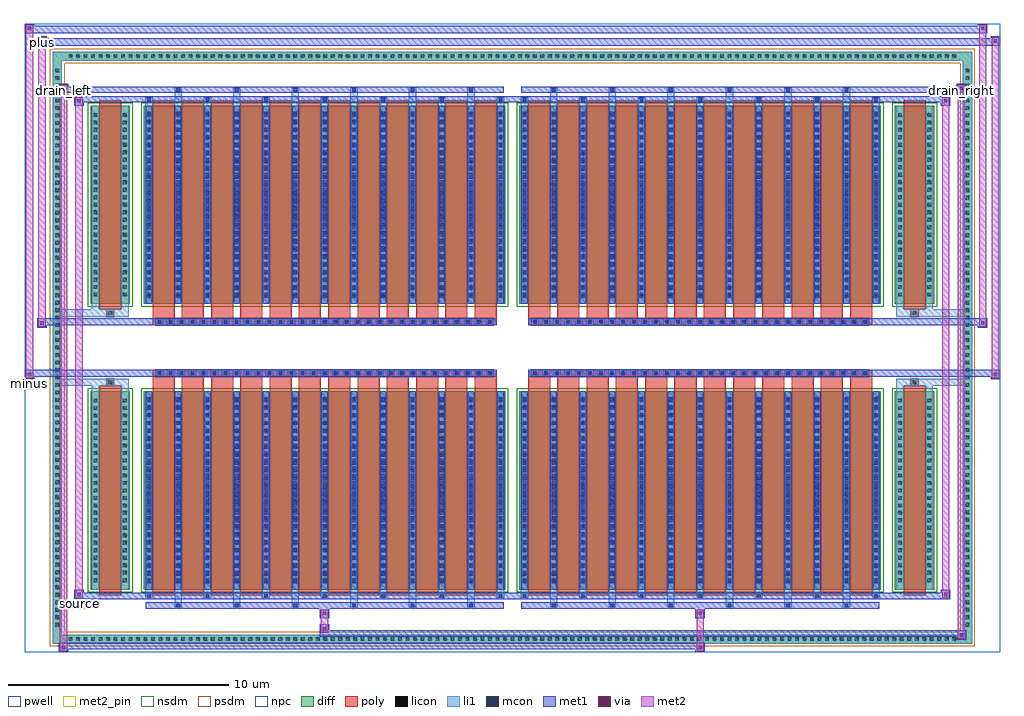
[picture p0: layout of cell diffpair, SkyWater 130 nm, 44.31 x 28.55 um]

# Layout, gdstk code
import gdstk
lib = gdstk.Library(unit=1e-6, precision=5e-09)
def R(c, l, rs):  # rectangles x0, y0, x1, y1
    for r in rs: c.add(gdstk.rectangle(r[:2], r[2:], *l))
def A(c, l, x, y, w, h, nx, ny, dx, dy):  # array of equal rectangles
    R(c, l, [(x+i*dx, y+j*dy, x+i*dx+w, y+j*dy+h) for i in range(nx) for j in range(ny)])
def P(c, l, *ps):  # polygons
    for p in ps: c.add(gdstk.Polygon(p, *l))
pwell = (64, 44)
diff = (65, 20)
poly = (66, 20)
licon = (66, 44)
li1 = (67, 20)
mcon = (67, 44)
met1 = (68, 20)
via = (68, 44)
met2_pin = (69, 16)
met2 = (69, 20)
nsdm = (93, 44)
psdm = (94, 20)
npc = (95, 20)

diffpair = lib.new_cell('diffpair')
R(diffpair, pwell, [(-22.14,-13.84,22.14,14.71), (-19.46,-12.03,-0.01,-0.805), (0.01,-12.03,19.46,-0.805), (-19.46,0.805,-0.01,12.03), (0.01,0.805,19.46,12.03)])
A(diffpair, diff, -20.265, -13.44, 0.41, 0.41, 119, 2, 0.34, 26.47)
A(diffpair, diff, -20.87, -12.785, 0.41, 0.41, 1, 75, 0, 0.34)
A(diffpair, diff, 20.46, -12.785, 0.41, 0.41, 1, 75, 0, 0.34)
R(diffpair, diff, [(-20.265,-13.44,20.265,-13.03), (-20.87,-12.785,-20.46,12.785), (20.46,-12.785,20.87,12.785), (-19.15,-10.985,-17.37,-1.985), (-16.73,-10.985,-0.32,-1.985), (0.32,-10.985,16.73,-1.985), (17.37,-10.985,19.15,-1.985), (-19.15,1.985,-17.37,10.985), (-16.73,1.985,-0.32,10.985), (0.32,1.985,16.73,10.985), (17.37,1.985,19.15,10.985), (-20.265,13.03,20.265,13.44)])
P(diffpair, diff, [(20.87,13.44),(-20.87,13.44),(-20.87,-13.03),(-20.46,-13.03),(-20.46,13.03),(20.46,13.03),(20.46,-13.03),(-20.46,-13.03),(-20.87,-13.03),(-20.87,-13.44),(20.87,-13.44)])
A(diffpair, poly, -16.34, -11.235, 1, 9.5, 12, 2, 1.33, 12.97)
A(diffpair, poly, 0.71, -11.235, 1, 9.5, 12, 2, 1.33, 12.97)
A(diffpair, poly, -16.34, -1.735, 1, 0.4, 12, 2, 1.33, 3.07)
A(diffpair, poly, 0.71, -1.735, 1, 0.4, 12, 2, 1.33, 3.07)
A(diffpair, poly, -16.19, -1.335, 0.33, 0.33, 31, 2, 0.5, 2.34)
A(diffpair, poly, 0.86, -1.335, 0.33, 0.33, 31, 2, 0.5, 2.34)
R(diffpair, poly, [(-18.76,-11.235,-17.76,-1.735), (17.76,-11.235,18.76,-1.735), (-18.425,-1.735,-18.095,-1.405), (-18.425,-1.735,-18.095,-1.405), (18.095,-1.735,18.425,-1.405), (18.095,-1.735,18.425,-1.405), (-16.34,-1.335,-0.71,-1.005), (0.71,-1.335,16.34,-1.005), (-16.34,1.005,-0.71,1.335), (0.71,1.005,16.34,1.335), (-18.425,1.405,-18.095,1.735), (-18.425,1.405,-18.095,1.735), (18.095,1.405,18.425,1.735), (18.095,1.405,18.425,1.735), (-18.76,1.735,-17.76,11.235), (17.76,1.735,18.76,11.235)])
A(diffpair, licon, -20.145, -13.32, 0.17, 0.17, 119, 2, 0.34, 26.47)
A(diffpair, licon, -20.75, -12.665, 0.17, 0.17, 1, 75, 0, 0.34)
A(diffpair, licon, 20.58, -12.665, 0.17, 0.17, 1, 75, 0, 0.34)
A(diffpair, licon, -19.01, -10.65, 0.17, 0.17, 1, 25, 0, 0.34)
A(diffpair, licon, -17.68, -10.65, 0.17, 0.17, 1, 25, 0, 0.34)
A(diffpair, licon, -16.59, -10.65, 0.17, 0.17, 13, 25, 1.33, 0.34)
A(diffpair, licon, 0.46, -10.65, 0.17, 0.17, 13, 25, 1.33, 0.34)
A(diffpair, licon, 17.51, -10.65, 0.17, 0.17, 1, 25, 0, 0.34)
A(diffpair, licon, 18.84, -10.65, 0.17, 0.17, 1, 25, 0, 0.34)
A(diffpair, licon, -16.11, -1.255, 0.17, 0.17, 31, 2, 0.5, 2.34)
A(diffpair, licon, 0.94, -1.255, 0.17, 0.17, 31, 2, 0.5, 2.34)
A(diffpair, licon, -19.01, 2.32, 0.17, 0.17, 1, 25, 0, 0.34)
A(diffpair, licon, -17.68, 2.32, 0.17, 0.17, 1, 25, 0, 0.34)
A(diffpair, licon, -16.59, 2.32, 0.17, 0.17, 13, 25, 1.33, 0.34)
A(diffpair, licon, 0.46, 2.32, 0.17, 0.17, 13, 25, 1.33, 0.34)
A(diffpair, licon, 17.51, 2.32, 0.17, 0.17, 1, 25, 0, 0.34)
A(diffpair, licon, 18.84, 2.32, 0.17, 0.17, 1, 25, 0, 0.34)
R(diffpair, licon, [(-18.345,-1.655,-18.175,-1.485), (18.175,-1.655,18.345,-1.485), (-18.345,1.485,-18.175,1.655), (18.175,1.485,18.345,1.655)])
A(diffpair, li1, -20.225, -13.4, 0.33, 0.33, 119, 2, 0.34, 26.47)
A(diffpair, li1, -20.83, -12.745, 0.33, 0.33, 1, 75, 0, 0.34)
A(diffpair, li1, 20.5, -12.745, 0.33, 0.33, 1, 75, 0, 0.34)
A(diffpair, li1, -15.34, -11.79, 0.33, 0.805, 6, 2, 2.66, 22.775)
A(diffpair, li1, -15.26, -11.79, 0.17, 0.17, 6, 2, 2.66, 23.41)
A(diffpair, li1, 1.71, -11.79, 0.33, 0.805, 6, 2, 2.66, 22.775)
A(diffpair, li1, 1.79, -11.79, 0.17, 0.17, 6, 2, 2.66, 23.41)
A(diffpair, li1, -16.67, -11.36, 0.33, 0.375, 7, 2, 2.66, 22.345)
A(diffpair, li1, -16.59, -11.36, 0.17, 0.17, 7, 2, 2.66, 22.55)
A(diffpair, li1, 0.38, -11.36, 0.33, 0.375, 7, 2, 2.66, 22.345)
A(diffpair, li1, 0.46, -11.36, 0.17, 0.17, 7, 2, 2.66, 22.55)
A(diffpair, li1, -16.67, -10.985, 0.33, 9, 13, 2, 1.33, 12.97)
A(diffpair, li1, 0.38, -10.985, 0.33, 9, 13, 2, 1.33, 12.97)
A(diffpair, li1, -19.09, -10.73, 0.33, 0.33, 1, 25, 0, 0.34)
A(diffpair, li1, -17.76, -10.73, 0.33, 0.33, 1, 25, 0, 0.34)
A(diffpair, li1, -16.67, -10.73, 0.33, 0.33, 13, 25, 1.33, 0.34)
A(diffpair, li1, 0.38, -10.73, 0.33, 0.33, 13, 25, 1.33, 0.34)
A(diffpair, li1, 17.43, -10.73, 0.33, 0.33, 1, 25, 0, 0.34)
A(diffpair, li1, 18.76, -10.73, 0.33, 0.33, 1, 25, 0, 0.34)
A(diffpair, li1, -16.59, -10.71, 0.17, 0.17, 13, 24, 1.33, 0.36)
A(diffpair, li1, -16.59, -10.71, 0.17, 8.45, 13, 2, 1.33, 12.97)
A(diffpair, li1, 0.46, -10.71, 0.17, 0.17, 13, 24, 1.33, 0.36)
A(diffpair, li1, 0.46, -10.71, 0.17, 8.45, 13, 2, 1.33, 12.97)
A(diffpair, li1, -16.19, -1.335, 0.33, 0.33, 31, 2, 0.5, 2.34)
A(diffpair, li1, 0.86, -1.335, 0.33, 0.33, 31, 2, 0.5, 2.34)
A(diffpair, li1, -19.09, 2.24, 0.33, 0.33, 1, 25, 0, 0.34)
A(diffpair, li1, -17.76, 2.24, 0.33, 0.33, 1, 25, 0, 0.34)
A(diffpair, li1, -16.67, 2.24, 0.33, 0.33, 13, 25, 1.33, 0.34)
A(diffpair, li1, 0.38, 2.24, 0.33, 0.33, 13, 25, 1.33, 0.34)
A(diffpair, li1, 17.43, 2.24, 0.33, 0.33, 1, 25, 0, 0.34)
A(diffpair, li1, 18.76, 2.24, 0.33, 0.33, 1, 25, 0, 0.34)
A(diffpair, li1, -16.59, 2.26, 0.17, 0.17, 13, 24, 1.33, 0.36)
A(diffpair, li1, 0.46, 2.26, 0.17, 0.17, 13, 24, 1.33, 0.36)
R(diffpair, li1, [(-20.87,-13.44,-20.46,-13.03), (-20.87,-13.44,-20.46,-13.03), (-20.46,-13.44,20.46,-13.03), (20.46,-13.44,20.87,-13.03), (20.46,-13.44,20.87,-13.03), (-20.87,-13.03,-20.46,13.03), (20.46,-13.03,20.87,13.03), (-19.09,-10.985,-18.76,-1.985), (-17.76,-10.985,-17.43,-1.985), (17.43,-10.985,17.76,-1.985), (18.76,-10.985,19.09,-1.985), (-19.09,-1.985,-18.76,-1.405), (-17.76,-1.985,-17.43,-1.405), (17.43,-1.985,17.76,-1.405), (18.76,-1.985,19.09,-1.405), (-20.87,-1.735,-18.425,-1.405), (-19.09,-1.735,-18.425,-1.405), (-18.425,-1.735,-18.095,-1.405), (-18.095,-1.735,-17.43,-1.405), (17.43,-1.735,18.095,-1.405), (18.095,-1.735,18.425,-1.405), (18.095,-1.735,20.87,-1.405), (18.425,-1.735,19.09,-1.405), (-20.87,1.405,-18.425,1.735), (-19.09,1.405,-18.425,1.735), (-19.09,1.405,-18.76,1.985), (-18.425,1.405,-18.095,1.735), (-18.095,1.405,-17.43,1.735), (-17.76,1.405,-17.43,1.985), (17.43,1.405,18.095,1.735), (17.43,1.405,17.76,1.985), (18.095,1.405,18.425,1.735), (18.095,1.405,20.87,1.735), (18.425,1.405,19.09,1.735), (18.76,1.405,19.09,1.985), (-19.09,1.985,-18.76,10.985), (-17.76,1.985,-17.43,10.985), (17.43,1.985,17.76,10.985), (18.76,1.985,19.09,10.985), (-20.87,13.03,-20.46,13.44), (-20.87,13.03,-20.46,13.44), (-20.46,13.03,20.46,13.44), (20.46,13.03,20.87,13.44), (20.46,13.03,20.87,13.44)])
A(diffpair, mcon, -15.26, -11.79, 0.17, 0.17, 6, 2, 2.66, 23.41)
A(diffpair, mcon, 1.79, -11.79, 0.17, 0.17, 6, 2, 2.66, 23.41)
A(diffpair, mcon, -16.59, -11.36, 0.17, 0.17, 7, 2, 2.66, 22.55)
A(diffpair, mcon, 0.46, -11.36, 0.17, 0.17, 7, 2, 2.66, 22.55)
A(diffpair, mcon, -16.59, -10.71, 0.17, 0.17, 13, 24, 1.33, 0.36)
A(diffpair, mcon, 0.46, -10.71, 0.17, 0.17, 13, 24, 1.33, 0.36)
A(diffpair, mcon, -16.11, -1.255, 0.17, 0.17, 31, 2, 0.5, 2.34)
A(diffpair, mcon, 0.94, -1.255, 0.17, 0.17, 31, 2, 0.5, 2.34)
A(diffpair, mcon, -16.59, 2.26, 0.17, 0.17, 13, 24, 1.33, 0.36)
A(diffpair, mcon, 0.46, 2.26, 0.17, 0.17, 13, 24, 1.33, 0.36)
A(diffpair, met1, -15.32, -11.85, 0.29, 0.29, 6, 2, 2.66, 23.41)
A(diffpair, met1, 1.73, -11.85, 0.29, 0.29, 6, 2, 2.66, 23.41)
A(diffpair, met1, -16.65, -11.42, 0.29, 0.29, 7, 2, 2.66, 22.55)
A(diffpair, met1, 0.4, -11.42, 0.29, 0.29, 7, 2, 2.66, 22.55)
A(diffpair, met1, -16.65, -10.985, 0.29, 9, 13, 2, 1.33, 12.97)
A(diffpair, met1, 0.4, -10.985, 0.29, 9, 13, 2, 1.33, 12.97)
A(diffpair, met1, -16.65, -10.77, 0.29, 0.29, 13, 24, 1.33, 0.36)
A(diffpair, met1, 0.4, -10.77, 0.29, 0.29, 13, 24, 1.33, 0.36)
A(diffpair, met1, -16.17, -1.315, 0.29, 0.29, 31, 2, 0.5, 2.34)
A(diffpair, met1, 0.88, -1.315, 0.29, 0.29, 31, 2, 0.5, 2.34)
A(diffpair, met1, -16.65, 2.2, 0.29, 0.29, 13, 24, 1.33, 0.36)
A(diffpair, met1, 0.4, 2.2, 0.29, 0.29, 13, 24, 1.33, 0.36)
R(diffpair, met1, [(-20.6,-13.84,-20.17,-13.41), (8.31,-13.84,8.74,-13.41), (-20.6,-13.7,8.74,-13.41), (20.17,-13.27,20.6,-12.84), (-8.74,-13.13,20.6,-12.84), (-8.74,-12.99,-8.31,-12.56), (-8.74,-12.28,-8.31,-11.85), (8.31,-12.28,8.74,-11.85), (-16.65,-11.85,-0.4,-11.56), (0.4,-11.85,16.65,-11.56), (-19.89,-11.42,-19.46,-10.99), (-19.89,-11.42,-16.65,-11.13), (-16.65,-11.42,-0.4,-11.13), (-0.4,-11.42,0.4,-11.13), (0.4,-11.42,16.65,-11.13), (16.65,-11.42,19.89,-11.13), (19.46,-11.42,19.89,-10.99), (-22.14,-1.435,-21.71,-1.005), (21.71,-1.435,22.14,-1.005), (-22.14,-1.335,-0.71,-1.005), (-16.34,-1.335,-0.71,-1.005), (0.71,-1.335,16.34,-1.005), (0.71,-1.335,22.14,-1.005), (-21.57,0.905,-21.14,1.335), (21.14,0.905,21.57,1.335), (-21.57,1.005,-16.34,1.335), (-16.34,1.005,-0.71,1.335), (0.71,1.005,16.34,1.335), (16.34,1.005,21.57,1.335), (-19.89,10.99,-19.46,11.42), (19.46,10.99,19.89,11.42), (-19.89,11.13,-16.65,11.42), (-16.65,11.13,-0.4,11.42), (-0.4,11.13,0.4,11.42), (0.4,11.13,16.65,11.42), (16.65,11.13,19.89,11.42), (-20.6,11.56,-20.17,11.99), (-20.6,11.56,-16.65,11.85), (-16.65,11.56,-0.4,11.85), (0.4,11.56,16.65,11.85), (16.65,11.56,20.6,11.85), (20.17,11.56,20.6,11.99), (-21.57,13.71,-21.14,14.14), (-21.57,13.71,-19.46,14.04), (-19.46,13.71,19.46,14.04), (19.46,13.71,22.14,14.04), (21.71,13.71,22.14,14.14), (-22.14,14.28,-21.71,14.71), (-22.14,14.28,-19.46,14.61), (-19.46,14.28,19.46,14.61), (19.46,14.28,21.57,14.61), (21.14,14.28,21.57,14.71)])
R(diffpair, via, [(-20.46,-13.7,-20.31,-13.55), (8.45,-13.7,8.6,-13.55), (20.31,-13.13,20.46,-12.98), (-8.6,-12.85,-8.45,-12.7), (-8.6,-12.14,-8.45,-11.99), (8.45,-12.14,8.6,-11.99), (-19.75,-11.28,-19.6,-11.13), (19.6,-11.28,19.75,-11.13), (-22,-1.295,-21.85,-1.145), (21.85,-1.295,22,-1.145), (-21.43,1.045,-21.28,1.195), (21.28,1.045,21.43,1.195), (-19.75,11.13,-19.6,11.28), (19.6,11.13,19.75,11.28), (-20.46,11.7,-20.31,11.85), (20.31,11.7,20.46,11.85), (-21.43,13.85,-21.28,14), (21.85,13.85,22,14), (-22,14.42,-21.85,14.57), (21.28,14.42,21.43,14.57)])
R(diffpair, met2_pin, [(-19.925,-11.87,-19.425,-11.37), (-22.175,-1.885,-21.675,-1.385), (-20.635,11.44,-20.135,11.94), (20.135,11.44,20.635,11.94), (-21.605,13.59,-21.105,14.09)])
R(diffpair, met2, [(-20.55,-13.79,-20.22,-13.46), (-20.55,-13.79,-20.22,11.94), (8.36,-13.79,8.69,-13.46), (8.36,-13.46,8.69,-12.23), (20.22,-13.22,20.55,-12.89), (20.22,-13.22,20.55,11.94), (-8.69,-12.94,-8.36,-12.61), (-8.69,-12.61,-8.36,-12.23), (-8.69,-12.23,-8.36,-11.9), (8.36,-12.23,8.69,-11.9), (-19.84,-11.37,-19.51,-11.04), (-19.84,-11.37,-19.51,11.37), (19.51,-11.37,19.84,-11.04), (19.51,-11.37,19.84,11.37), (-22.09,-1.385,-21.76,-1.055), (-22.09,-1.385,-21.76,14.66), (21.76,-1.385,22.09,-1.055), (21.76,-1.385,22.09,14.09), (-21.52,0.955,-21.19,1.285), (-21.52,0.955,-21.19,14.09), (21.19,0.955,21.52,1.285), (21.19,0.955,21.52,14.66), (-19.84,11.04,-19.51,11.37), (19.51,11.04,19.84,11.37), (-20.55,11.61,-20.22,11.94), (20.22,11.61,20.55,11.94), (-21.52,13.76,-21.19,14.09), (21.76,13.76,22.09,14.09), (-22.09,14.33,-21.76,14.66), (21.19,14.33,21.52,14.66)])
P(diffpair, met2, [(22.09,-1.385),(22.09,-1.385),(22.09,-1.055),(22.09,-1.055)],
  [(22.09,13.76),(22.09,13.76),(22.09,14.09),(22.09,14.09)],
  [(-21.76,-1.385),(-21.76,-1.385),(-21.76,-1.055),(-21.76,-1.055)],
  [(-21.76,14.33),(-21.76,14.33),(-21.76,14.66),(-21.76,14.66)],
  [(21.52,0.955),(21.52,0.955),(21.52,1.285),(21.52,1.285)],
  [(21.52,14.33),(21.52,14.33),(21.52,14.66),(21.52,14.66)],
  [(-21.19,0.955),(-21.19,0.955),(-21.19,1.285),(-21.19,1.285)],
  [(-21.19,13.76),(-21.19,13.76),(-21.19,14.09),(-21.19,14.09)],
  [(-20.22,-13.79),(-20.22,-13.79),(-20.22,-13.46),(-20.22,-13.46)],
  [(-20.22,11.61),(-20.22,11.61),(-20.22,11.94),(-20.22,11.94)],
  [(20.55,-13.22),(20.55,-13.22),(20.55,-12.89),(20.55,-12.89)],
  [(20.55,11.61),(20.55,11.61),(20.55,11.94),(20.55,11.94)],
  [(-19.51,-11.37),(-19.51,-11.37),(-19.51,-11.04),(-19.51,-11.04)],
  [(-19.51,11.04),(-19.51,11.04),(-19.51,11.37),(-19.51,11.37)],
  [(19.84,-11.37),(19.84,-11.37),(19.84,-11.04),(19.84,-11.04)],
  [(19.84,11.04),(19.84,11.04),(19.84,11.37),(19.84,11.37)])
R(diffpair, nsdm, [(-19.28,-11.115,-17.24,-1.855), (-16.86,-11.115,-0.19,-1.855), (0.19,-11.115,16.86,-1.855), (17.24,-11.115,19.28,-1.855), (-19.28,1.855,-17.24,11.115), (-16.86,1.855,-0.19,11.115), (0.19,1.855,16.86,11.115), (17.24,1.855,19.28,11.115)])
P(diffpair, psdm, [(21,13.57),(-21,13.57),(-21,-12.9),(-20.33,-12.9),(-20.33,12.9),(20.33,12.9),(20.33,-12.9),(-20.33,-12.9),(-21,-12.9),(-21,-13.57),(21,-13.57)])
A(diffpair, npc, -16.21, -1.355, 0.37, 0.37, 31, 2, 0.5, 2.34)
A(diffpair, npc, 0.84, -1.355, 0.37, 0.37, 31, 2, 0.5, 2.34)
R(diffpair, npc, [(-18.445,-1.755,-18.075,-1.385), (18.075,-1.755,18.445,-1.385), (-16.21,-1.355,-15.34,-0.985), (-16.21,-1.355,-15.34,-0.985), (-15.71,-1.355,-14.84,-0.985), (-15.71,-1.355,-14.84,-0.985), (-15.21,-1.355,-14.34,-0.985), (-15.21,-1.355,-14.34,-0.985), (-14.71,-1.355,-13.84,-0.985), (-14.71,-1.355,-13.84,-0.985), (-14.21,-1.355,-13.34,-0.985), (-14.21,-1.355,-13.34,-0.985), (-13.71,-1.355,-12.84,-0.985), (-13.71,-1.355,-12.84,-0.985), (-13.21,-1.355,-12.34,-0.985), (-13.21,-1.355,-12.34,-0.985), (-12.71,-1.355,-11.84,-0.985), (-12.71,-1.355,-11.84,-0.985), (-12.21,-1.355,-11.34,-0.985), (-12.21,-1.355,-11.34,-0.985), (-11.71,-1.355,-10.84,-0.985), (-11.71,-1.355,-10.84,-0.985), (-11.21,-1.355,-10.34,-0.985), (-11.21,-1.355,-10.34,-0.985), (-10.71,-1.355,-9.84,-0.985), (-10.71,-1.355,-9.84,-0.985), (-10.21,-1.355,-9.34,-0.985), (-10.21,-1.355,-9.34,-0.985), (-9.71,-1.355,-8.84,-0.985), (-9.71,-1.355,-8.84,-0.985), (-9.21,-1.355,-8.34,-0.985), (-9.21,-1.355,-8.34,-0.985), (-8.71,-1.355,-7.84,-0.985), (-8.71,-1.355,-7.84,-0.985), (-8.21,-1.355,-7.34,-0.985), (-8.21,-1.355,-7.34,-0.985), (-7.71,-1.355,-6.84,-0.985), (-7.71,-1.355,-6.84,-0.985), (-7.21,-1.355,-6.34,-0.985), (-7.21,-1.355,-6.34,-0.985), (-6.71,-1.355,-5.84,-0.985), (-6.71,-1.355,-5.84,-0.985), (-6.21,-1.355,-5.34,-0.985), (-6.21,-1.355,-5.34,-0.985), (-5.71,-1.355,-4.84,-0.985), (-5.71,-1.355,-4.84,-0.985), (-5.21,-1.355,-4.34,-0.985), (-5.21,-1.355,-4.34,-0.985), (-4.71,-1.355,-3.84,-0.985), (-4.71,-1.355,-3.84,-0.985), (-4.21,-1.355,-3.34,-0.985), (-4.21,-1.355,-3.34,-0.985), (-3.71,-1.355,-2.84,-0.985), (-3.71,-1.355,-2.84,-0.985), (-3.21,-1.355,-2.34,-0.985), (-3.21,-1.355,-2.34,-0.985), (-2.71,-1.355,-1.84,-0.985), (-2.71,-1.355,-1.84,-0.985), (-2.21,-1.355,-1.34,-0.985), (-2.21,-1.355,-1.34,-0.985), (-1.71,-1.355,-0.84,-0.985), (-1.71,-1.355,-0.84,-0.985), (0.84,-1.355,1.71,-0.985), (0.84,-1.355,1.71,-0.985), (1.34,-1.355,2.21,-0.985), (1.34,-1.355,2.21,-0.985), (1.84,-1.355,2.71,-0.985), (1.84,-1.355,2.71,-0.985), (2.34,-1.355,3.21,-0.985), (2.34,-1.355,3.21,-0.985), (2.84,-1.355,3.71,-0.985), (2.84,-1.355,3.71,-0.985), (3.34,-1.355,4.21,-0.985), (3.34,-1.355,4.21,-0.985), (3.84,-1.355,4.71,-0.985), (3.84,-1.355,4.71,-0.985), (4.34,-1.355,5.21,-0.985), (4.34,-1.355,5.21,-0.985), (4.84,-1.355,5.71,-0.985), (4.84,-1.355,5.71,-0.985), (5.34,-1.355,6.21,-0.985), (5.34,-1.355,6.21,-0.985), (5.84,-1.355,6.71,-0.985), (5.84,-1.355,6.71,-0.985), (6.34,-1.355,7.21,-0.985), (6.34,-1.355,7.21,-0.985), (6.84,-1.355,7.71,-0.985), (6.84,-1.355,7.71,-0.985), (7.34,-1.355,8.21,-0.985), (7.34,-1.355,8.21,-0.985), (7.84,-1.355,8.71,-0.985), (7.84,-1.355,8.71,-0.985), (8.34,-1.355,9.21,-0.985), (8.34,-1.355,9.21,-0.985), (8.84,-1.355,9.71,-0.985), (8.84,-1.355,9.71,-0.985), (9.34,-1.355,10.21,-0.985), (9.34,-1.355,10.21,-0.985), (9.84,-1.355,10.71,-0.985), (9.84,-1.355,10.71,-0.985), (10.34,-1.355,11.21,-0.985), (10.34,-1.355,11.21,-0.985), (10.84,-1.355,11.71,-0.985), (10.84,-1.355,11.71,-0.985), (11.34,-1.355,12.21,-0.985), (11.34,-1.355,12.21,-0.985), (11.84,-1.355,12.71,-0.985), (11.84,-1.355,12.71,-0.985), (12.34,-1.355,13.21,-0.985), (12.34,-1.355,13.21,-0.985), (12.84,-1.355,13.71,-0.985), (12.84,-1.355,13.71,-0.985), (13.34,-1.355,14.21,-0.985), (13.34,-1.355,14.21,-0.985), (13.84,-1.355,14.71,-0.985), (13.84,-1.355,14.71,-0.985), (14.34,-1.355,15.21,-0.985), (14.34,-1.355,15.21,-0.985), (14.84,-1.355,15.71,-0.985), (14.84,-1.355,15.71,-0.985), (15.34,-1.355,16.21,-0.985), (15.34,-1.355,16.21,-0.985), (-16.21,0.985,-15.34,1.355), (-16.21,0.985,-15.34,1.355), (-15.71,0.985,-14.84,1.355), (-15.71,0.985,-14.84,1.355), (-15.21,0.985,-14.34,1.355), (-15.21,0.985,-14.34,1.355), (-14.71,0.985,-13.84,1.355), (-14.71,0.985,-13.84,1.355), (-14.21,0.985,-13.34,1.355), (-14.21,0.985,-13.34,1.355), (-13.71,0.985,-12.84,1.355), (-13.71,0.985,-12.84,1.355), (-13.21,0.985,-12.34,1.355), (-13.21,0.985,-12.34,1.355), (-12.71,0.985,-11.84,1.355), (-12.71,0.985,-11.84,1.355), (-12.21,0.985,-11.34,1.355), (-12.21,0.985,-11.34,1.355), (-11.71,0.985,-10.84,1.355), (-11.71,0.985,-10.84,1.355), (-11.21,0.985,-10.34,1.355), (-11.21,0.985,-10.34,1.355), (-10.71,0.985,-9.84,1.355), (-10.71,0.985,-9.84,1.355), (-10.21,0.985,-9.34,1.355), (-10.21,0.985,-9.34,1.355), (-9.71,0.985,-8.84,1.355), (-9.71,0.985,-8.84,1.355), (-9.21,0.985,-8.34,1.355), (-9.21,0.985,-8.34,1.355), (-8.71,0.985,-7.84,1.355), (-8.71,0.985,-7.84,1.355), (-8.21,0.985,-7.34,1.355), (-8.21,0.985,-7.34,1.355), (-7.71,0.985,-6.84,1.355), (-7.71,0.985,-6.84,1.355), (-7.21,0.985,-6.34,1.355), (-7.21,0.985,-6.34,1.355), (-6.71,0.985,-5.84,1.355), (-6.71,0.985,-5.84,1.355), (-6.21,0.985,-5.34,1.355), (-6.21,0.985,-5.34,1.355), (-5.71,0.985,-4.84,1.355), (-5.71,0.985,-4.84,1.355), (-5.21,0.985,-4.34,1.355), (-5.21,0.985,-4.34,1.355), (-4.71,0.985,-3.84,1.355), (-4.71,0.985,-3.84,1.355), (-4.21,0.985,-3.34,1.355), (-4.21,0.985,-3.34,1.355), (-3.71,0.985,-2.84,1.355), (-3.71,0.985,-2.84,1.355), (-3.21,0.985,-2.34,1.355), (-3.21,0.985,-2.34,1.355), (-2.71,0.985,-1.84,1.355), (-2.71,0.985,-1.84,1.355), (-2.21,0.985,-1.34,1.355), (-2.21,0.985,-1.34,1.355), (-1.71,0.985,-0.84,1.355), (-1.71,0.985,-0.84,1.355), (0.84,0.985,1.71,1.355), (0.84,0.985,1.71,1.355), (1.34,0.985,2.21,1.355), (1.34,0.985,2.21,1.355), (1.84,0.985,2.71,1.355), (1.84,0.985,2.71,1.355), (2.34,0.985,3.21,1.355), (2.34,0.985,3.21,1.355), (2.84,0.985,3.71,1.355), (2.84,0.985,3.71,1.355), (3.34,0.985,4.21,1.355), (3.34,0.985,4.21,1.355), (3.84,0.985,4.71,1.355), (3.84,0.985,4.71,1.355), (4.34,0.985,5.21,1.355), (4.34,0.985,5.21,1.355), (4.84,0.985,5.71,1.355), (4.84,0.985,5.71,1.355), (5.34,0.985,6.21,1.355), (5.34,0.985,6.21,1.355), (5.84,0.985,6.71,1.355), (5.84,0.985,6.71,1.355), (6.34,0.985,7.21,1.355), (6.34,0.985,7.21,1.355), (6.84,0.985,7.71,1.355), (6.84,0.985,7.71,1.355), (7.34,0.985,8.21,1.355), (7.34,0.985,8.21,1.355), (7.84,0.985,8.71,1.355), (7.84,0.985,8.71,1.355), (8.34,0.985,9.21,1.355), (8.34,0.985,9.21,1.355), (8.84,0.985,9.71,1.355), (8.84,0.985,9.71,1.355), (9.34,0.985,10.21,1.355), (9.34,0.985,10.21,1.355), (9.84,0.985,10.71,1.355), (9.84,0.985,10.71,1.355), (10.34,0.985,11.21,1.355), (10.34,0.985,11.21,1.355), (10.84,0.985,11.71,1.355), (10.84,0.985,11.71,1.355), (11.34,0.985,12.21,1.355), (11.34,0.985,12.21,1.355), (11.84,0.985,12.71,1.355), (11.84,0.985,12.71,1.355), (12.34,0.985,13.21,1.355), (12.34,0.985,13.21,1.355), (12.84,0.985,13.71,1.355), (12.84,0.985,13.71,1.355), (13.34,0.985,14.21,1.355), (13.34,0.985,14.21,1.355), (13.84,0.985,14.71,1.355), (13.84,0.985,14.71,1.355), (14.34,0.985,15.21,1.355), (14.34,0.985,15.21,1.355), (14.84,0.985,15.71,1.355), (14.84,0.985,15.71,1.355), (15.34,0.985,16.21,1.355), (15.34,0.985,16.21,1.355), (-18.445,1.385,-18.075,1.755), (18.075,1.385,18.445,1.755)])
diffpair.add(gdstk.Label('minus', (-21.925,-1.635), layer=69, texttype=5))
diffpair.add(gdstk.Label('drain_right', (20.385,11.69), layer=69, texttype=5))
diffpair.add(gdstk.Label('drain_left', (-20.385,11.69), layer=69, texttype=5))
diffpair.add(gdstk.Label('source', (-19.675,-11.62), layer=69, texttype=5))
diffpair.add(gdstk.Label('plus', (-21.355,13.84), layer=69, texttype=5))

lib.write_gds('diffpair.gds')
